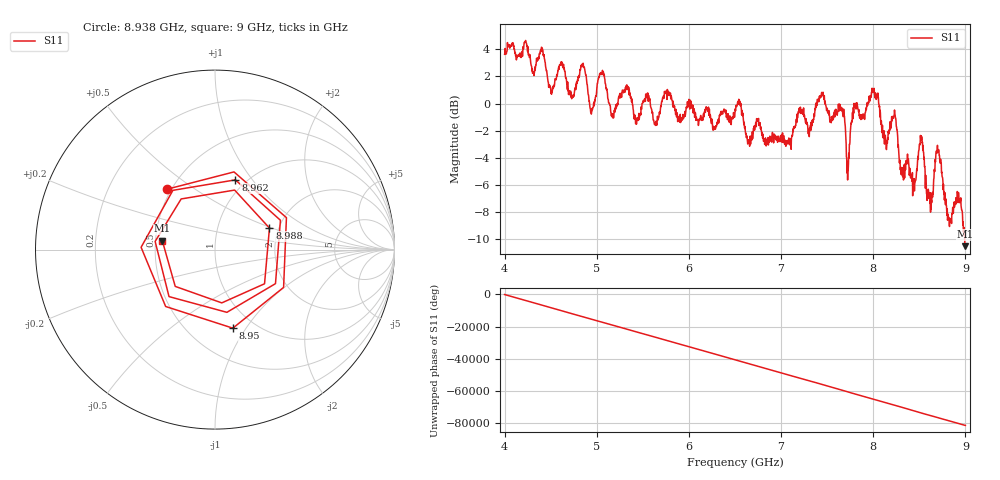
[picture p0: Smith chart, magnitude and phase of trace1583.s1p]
! Created with skrf 1.8.0 (http://scikit-rf.org).
# Hz S RI R 50.0
!freq ReS11 ImS11
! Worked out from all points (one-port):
!   1601 points, 4 GHz to 9 GHz, reference 50 ohm
!   lowest |S11| = -10.5 dB at 9 GHz (marker M1), VSWR 1.85, Z = 27.2 + j2.95 ohm
!   |S11| at or under -10 dB: 8.992547 GHz to end of sweep
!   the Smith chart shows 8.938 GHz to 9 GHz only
!   S11 on the Smith chart (normalised r, x): 8.938 GHz: 0.47, +0.39; 8.95 GHz: 0.80, -0.87; 8.962 GHz: 0.89, +0.83; 8.988 GHz: 1.79, +0.48; 9 GHz: 0.54, +0.06
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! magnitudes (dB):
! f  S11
! 4 GHz  3.6
! 4.403 GHz  4.1
! 4.503 GHz  0.8
! 4.625 GHz  3.0
! 4.731 GHz  0.5
! 4.853 GHz  3.0
! 4.944 GHz  -0.6
! 5.047 GHz  2.2
! 5.172 GHz  -1.0
! 5.25 GHz  0.5
! 5.875 GHz  -0.9
! 6.5 GHz  -0.7
! 6.65 GHz  -2.9
! 7.125 GHz  -2.3
! 7.444 GHz  0.7
! 7.75 GHz  -2.2
! 8 GHz  1.1
! 8.375 GHz  -4.2
! 8.444 GHz  -5.5
! 8.522 GHz  -2.7
! 8.625 GHz  -6.6
! 8.706 GHz  -3.6
! 8.825 GHz  -9.0
! 8.938 GHz  -7.3
! 8.95 GHz  -7.0
! 8.962 GHz  -7.9
! 8.988 GHz  -9.7
! 9 GHz  -10.5
